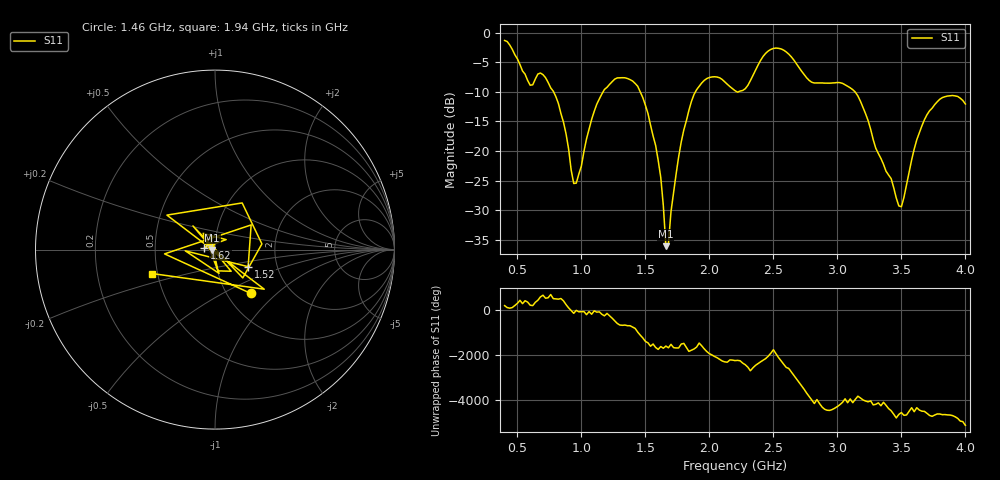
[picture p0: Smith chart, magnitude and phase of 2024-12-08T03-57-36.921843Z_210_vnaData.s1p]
!Created with skrf (http://scikit-rf.org).
# Hz S RI R 50.0
!freq ReS11 ImS11
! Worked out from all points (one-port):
!   181 points, 400 MHz to 4 GHz, reference 50 ohm
!   lowest |S11| = -36.0 dB at 1.66 GHz (marker M1), VSWR 1.03, Z = 48.5 - j0.234 ohm
!   |S11| at or under -10 dB: 782.6 MHz to 1.169 GHz (386.8 MHz wide, 39.6 % of centre); 1.46 GHz to 1.891 GHz (431.2 MHz wide, 25.7 % of centre); 3.138 GHz to end of sweep (the widest 3 of 4)
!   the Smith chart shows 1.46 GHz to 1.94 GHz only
!   S11 on the Smith chart (normalised r, x): 1.46 GHz: 1.29, -0.70; 1.52 GHz: 1.42, -0.28; 1.62 GHz: 0.89, +0.02; 1.94 GHz: 0.47, -0.14
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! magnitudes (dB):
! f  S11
! 400 MHz  -1.3
! 600 MHz  -8.9
! 720 MHz  -7.6
! 860 MHz  -15.1
! 940 MHz  -25.5
! 960 MHz  -25.4
! 1.12 GHz  -12.1
! 1.3 GHz  -7.6
! 1.46 GHz  -10.0
! 1.52 GHz  -13.6
! 1.62 GHz  -24.4
! 1.66 GHz  -36.0
! 1.68 GHz  -35.6
! 1.7 GHz  -30.2
! 1.76 GHz  -20.9
! 1.86 GHz  -11.6
! 1.94 GHz  -8.5
! 2.2 GHz  -9.8
! 2.48 GHz  -2.8
! 2.66 GHz  -4.7
! 2.8 GHz  -8.4
! 3.1 GHz  -9.3
! 3.18 GHz  -11.6
! 3.48 GHz  -29.2
! 3.56 GHz  -23.6
! 3.72 GHz  -13.2
! 3.86 GHz  -10.7
! 4 GHz  -12.1
